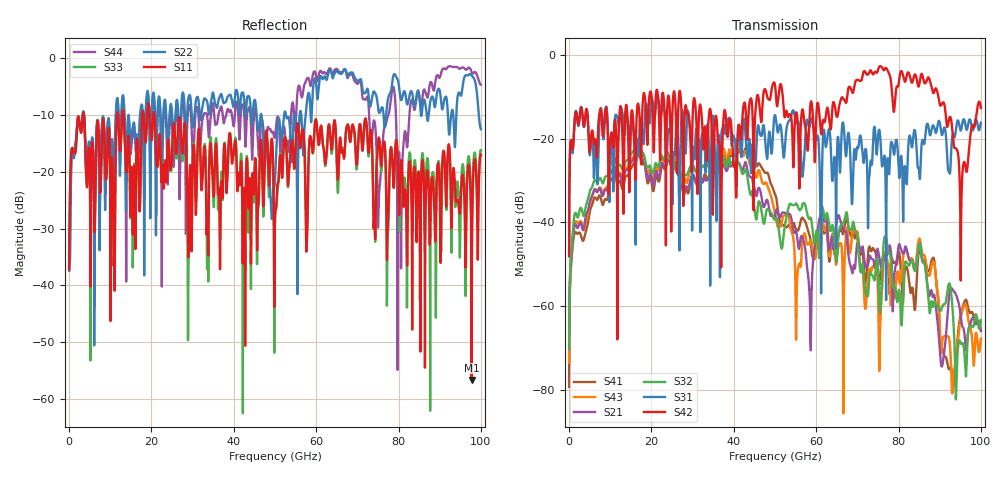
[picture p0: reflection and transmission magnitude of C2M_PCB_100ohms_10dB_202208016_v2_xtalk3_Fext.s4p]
! Info: Touchstone file created by Circ.  Input file=Intel_C2M_200G_1p5in_202208016_staggered.circ
# Hz S RI R 50
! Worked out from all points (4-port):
!   10000 points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, 10 MHz to 100 GHz, reference 50 ohm
!   strongest paths, dB at 10 MHz, 25.01 GHz, 50.01 GHz, 75.01 GHz, 100 GHz:
!     S42: -48.1, -16.5, -7.3, -3.7, -12.7
!     S31: -48.2, -25.7, -14.4, -19.7, -16.2
!     S32: -70.3, -24.0, -39.3, -51.6, -63.3
!     S21: -69.7, -26.3, -38.6, -46.7, -65.8
!     S43: -73.6, -24.3, -37.9, -56.5, -67.8
!     S41: -79.3, -26.3, -33.2, -50.9, -66.0
!   lowest |S11| = -56.6 dB at 97.76 GHz (marker M1), VSWR 1.00, Z = 50.1 - j0.0531 ohm
!   |S11| at or under -10 dB: 3.605 GHz to 11.63 GHz (8.023 GHz wide, 105 % of centre); 13.25 GHz to 17.75 GHz (4.496 GHz wide, 29 % of centre); 20.72 GHz to end of sweep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
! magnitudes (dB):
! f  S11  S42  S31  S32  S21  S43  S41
! 10 MHz  -37.1  -48.1  -48.2  -70.3  -69.7  -73.6  -79.3
! 10.76 GHz  -29.5  -21.6  -31.2  -24.9  -27.1  -27.0  -28.8
! 41.31 GHz  -21.1  -16.8  -17.6  -26.1  -25.9  -22.5  -23.0
! 58.51 GHz  -13.7  -12.9  -16.8  -39.0  -60.1  -44.5  -43.6
! 61.34 GHz  -12.4  -18.7  -34.0  -38.4  -36.3  -43.3  -41.4
! 97.76 GHz  -56.6  -17.2  -17.0  -64.8  -63.2  -66.8  -61.4
! 100 GHz  -16.9  -12.7  -16.2  -63.3  -65.8  -67.8  -66.0
